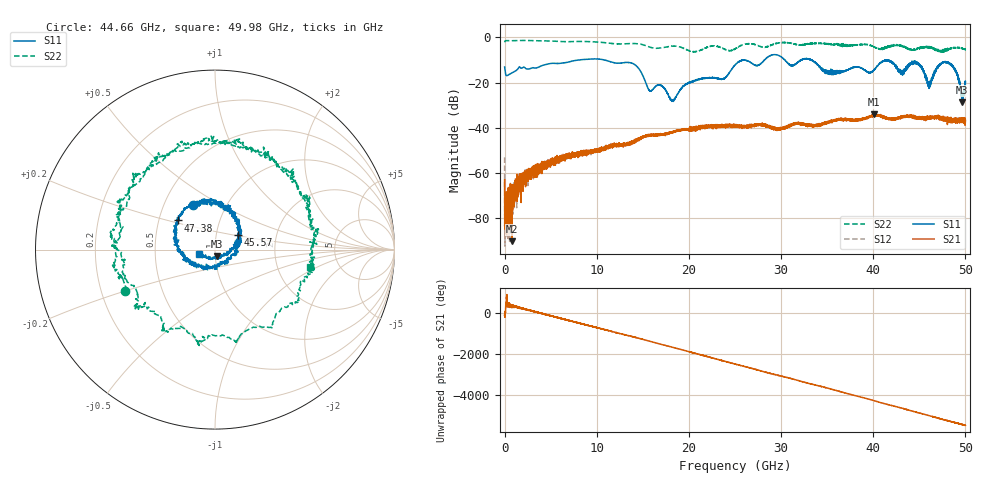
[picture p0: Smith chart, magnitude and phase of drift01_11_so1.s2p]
!Created with skrf (http://scikit-rf.org).
# Hz S RI R 50.0
!freq ReS11 ImS11 ReS21 ImS21 ReS12 ImS12 ReS22 ImS22
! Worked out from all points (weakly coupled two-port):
!   10001 points, 300 kHz to 50 GHz, reference 50 ohm
!   highest |S21| = -34.00 dB at 40.04 GHz (marker M1); lowest = -90.2 dB at 795.3 MHz (marker M2)
!   lowest |S11| = -28.7 dB at 49.67 GHz (marker M3), VSWR 1.08, Z = 50.9 - j3.62 ohm
!   |S11| at or under -10 dB: 10.84 GHz to 25.98 GHz (15.14 GHz wide, 82.3 % of centre); 33.27 GHz to 41.56 GHz (8.294 GHz wide, 22.2 % of centre); 41.6 GHz to end of sweep (the widest 3 of 10)
!   |S22| runs from -6.6 to -1.4 dB; largest |S21 - S12| = 0.005
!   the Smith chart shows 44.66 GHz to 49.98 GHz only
!   S11 on the Smith chart (normalised r, x): 44.66 GHz: 0.70, +0.38; 45.57 GHz: 1.27, +0.22; 47.38 GHz: 0.63, +0.22; 49.98 GHz: 0.83, -0.04
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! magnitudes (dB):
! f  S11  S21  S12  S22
! 300 kHz  -13.1  -63.0  -53.1  -2.1
! 255.3 MHz  -16.9  -72.0  -74.2  -1.4
! 795.3 MHz  -15.7  -90.2  -74.0  -1.5
! 3.135 GHz  -13.4  -60.2  -58.6  -1.4
! 8.335 GHz  -9.9  -52.0  -51.2  -1.8
! 13.78 GHz  -11.3  -46.8  -46.4  -2.7
! 15.73 GHz  -23.6  -43.8  -43.3  -4.3
! 16.67 GHz  -21.1  -43.2  -43.0  -4.8
! 18.25 GHz  -27.9  -41.8  -41.7  -3.9
! 25 GHz  -12.2  -39.1  -39.2  -5.1
! 33.34 GHz  -10.2  -38.8  -38.4  -2.7
! 40.04 GHz  -14.5  -34.0  -34.5  -4.0
! 41.67 GHz  -10.4  -36.4  -36.0  -4.4
! 43.07 GHz  -15.4  -35.5  -35.3  -3.5
! 44.66 GHz  -11.1  -35.9  -35.4  -5.2
! 45.57 GHz  -16.3  -35.5  -35.6  -4.2
! 46.13 GHz  -20.3  -35.5  -35.6  -4.6
! 47.38 GHz  -11.6  -35.1  -35.1  -5.7
! 48.7 GHz  -13.1  -36.8  -35.9  -4.6
! 49.67 GHz  -28.7  -35.5  -36.0  -4.8
! 49.98 GHz  -20.5  -36.1  -36.0  -5.4
! 50 GHz  -20.5  -37.3  -37.1  -5.4
